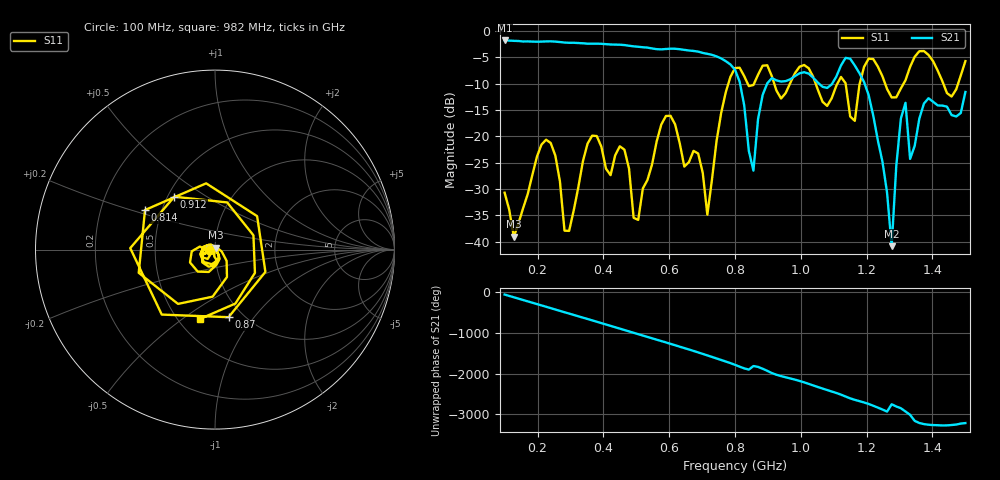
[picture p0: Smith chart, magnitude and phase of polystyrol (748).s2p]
! NanoVNA-App
! Date: 2025-09-25 15:35:42
! Start: 100MHz Stop: 1,5GHz Points: 101
! S-Parameter data: F S11 S21 S12 S22
# Hz S RI R 50
!  Frequency  S11_Real  S11_Imag  S21_Real  S21_Imag  S12_Real  S12_Imag  S22_Real  S22_Imag
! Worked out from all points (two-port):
!   101 points, 100 MHz to 1.5 GHz, reference 50 ohm
!   highest |S21| = -1.80 dB at 100 MHz (marker M1); lowest = -40.9 dB at 1.276 GHz (marker M2)
!   |S21| within 3 dB of the highest: start of sweep to 742.8 MHz
!   lowest |S11| = -39.1 dB at 128 MHz (marker M3), VSWR 1.02, Z = 50.3 + j1.06 ohm
!   |S11| at or under -10 dB: start of sweep to 779.8 MHz; 1.045 GHz to 1.111 GHz (66.01 MHz wide, 6.12 % of centre); 1.256 GHz to 1.312 GHz (56.11 MHz wide, 4.37 % of centre) (the widest 3 of 7)
!   S12 and S22 are empty: the file has one direction only
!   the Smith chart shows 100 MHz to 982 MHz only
!   S11 on the Smith chart (normalised r, x): 100 MHz: 0.94, -0.01; 814 MHz: 0.40, +0.22; 870 MHz: 0.86, -0.76; 912 MHz: 0.54, +0.37; 982 MHz: 0.63, -0.58
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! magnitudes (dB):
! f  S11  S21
! 100 MHz  -30.7  -1.8
! 128 MHz  -39.1  -1.9
! 212 MHz  -21.6  -2.0
! 282 MHz  -37.9  -2.2
! 338 MHz  -24.7  -2.3
! 464 MHz  -22.5  -2.7
! 506 MHz  -35.9  -3.0
! 576 MHz  -17.8  -3.5
! 716 MHz  -34.9  -4.3
! 800 MHz  -7.0  -7.4
! 814 MHz  -7.0  -9.6
! 856 MHz  -10.3  -26.5
! 870 MHz  -8.3  -16.8
! 912 MHz  -8.6  -9.0
! 982 MHz  -8.0  -8.6
! 1.038 GHz  -8.8  -8.9
! 1.164 GHz  -17.1  -6.6
! 1.192 GHz  -6.8  -9.7
! 1.276 GHz  -12.6  -40.9
! 1.318 GHz  -9.4  -13.6
! 1.332 GHz  -6.8  -24.3
! 1.5 GHz  -5.7  -11.6
